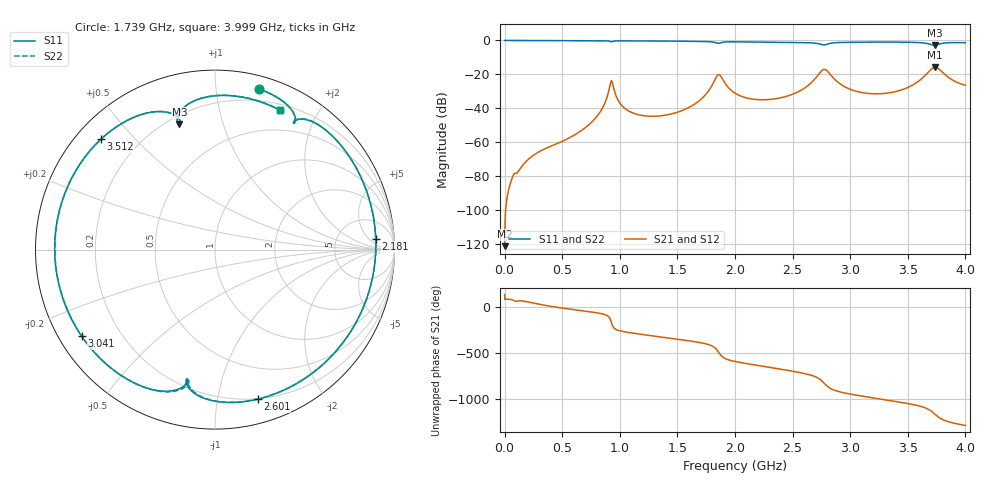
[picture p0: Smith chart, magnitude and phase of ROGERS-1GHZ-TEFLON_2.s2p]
! TOUCHSTONE file generated by CST MICROWAVE STUDIO
! Date and time: Thu Oct 30 19:20:40 2025
! Project name: ResonadorAnillo_PadsGndDesplazados_AnchoPistaPin.cst
! Parameters = {Eeff=2.76858; Er=3.55; H=1.56; L1=45.0747; L2=45.0747; L_Ang=9; L_AngTrans=1; L_Base=6.5; L_PadGND=4; L_Pin=4; L_conn=4; L_sma=8.5; Landa=180.299; R_Diel=2.08; R_Pin=0.45; R_sma=2.58; T=0.035; T_teflon=1.52; W=3.3; W_Base=1.5; W_PadGND=1.8; W_PistaPin=2.4; W_conn=0.9; Wa=3.3; X=70; Y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
! Header version: 2024
! Port assignment regex: !\s*Touchstone port\s*([0-9]+)\s*=\s*(CST MWS port|CST DES external port|CST DES block port)\s*(.+)\s* \(\"(.*)\"\)(\s*mode\s*([0-9]+))?.*
! Touchstone port assignment:
! Touchstone port 1 = CST MWS port 1 ("")
! Touchstone port 2 = CST MWS port 2 ("")
# GHz S MA R 62.45
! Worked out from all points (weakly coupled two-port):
!   5000 points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, 800 kHz to 4 GHz, reference 62.45 ohm
!   highest |S21| = -15.81 dB at 3.737 GHz (marker M1); lowest = -121.4 dB at 800 kHz (marker M2)
!   lowest |S11| = -2.8 dB at 3.732 GHz (marker M3), VSWR 6.30, Z = 15.4 + j45.4 ohm
!   |S11| at or under -10 dB: nowhere
!   |S22| runs from -2.7 to 0.0 dB; largest |S21 - S12| = 1.8e-10
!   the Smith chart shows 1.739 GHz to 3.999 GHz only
!   S11 on the Smith chart (normalised r, x): 1.739 GHz: 0.10, +1.30; 2.181 GHz: 13, +8; 2.601 GHz: 0.20, -1.31; 3.041 GHz: 0.07, -0.30; 3.512 GHz: 0.07, +0.40; 3.999 GHz: 0.26, +1.54
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0.0008  1 -0.2  8.537e-07 140.2  8.537e-07 140.2  1 -0.2
0.3472  0.9909 -67.8  0.0006285 23.7  0.0006285 23.7  0.9909 -67.6
0.668  0.9831 -123.9  0.002208 -34.5  0.002208 -34.5  0.9831 -123.8
0.8312  0.9786 -150.2  0.00789 -66.1  0.00789 -66.1  0.9786 -150.2
0.928  0.9114 -164.5  0.06485 -165.6  0.06485 -165.6  0.9129 -164.5
1.0616  0.9725 176.1  0.008972 89.4  0.008972 89.4  0.9725 176.1
1.3344  0.9623 136.2  0.005895 40.7  0.005895 40.7  0.9623 136.1
1.7392  0.9278 74.7  0.02394 -35.3  0.02394 -35.3  0.9281 74.8
1.8584  0.8283 58.2  0.09844 -130.3  0.09844 -130.3  0.8291 58.3
2.0008  0.9104 35.5  0.02787 129.9  0.02787 129.9  0.9109 35.9
2.1808  0.8973 3.8  0.01815 90.0  0.01815 90.0  0.8979 4.3
2.3784  0.8828 -32.1  0.01977 49.7  0.01977 49.7  0.8832 -31.4
2.6008  0.8664 -74.1  0.03865 -1.4  0.03865 -1.4  0.8667 -73.2
2.6672  0.8509 -87.2  0.05871 -22.8  0.05871 -22.8  0.8518 -86.3
2.78  0.7398 -101.8  0.1398 -114.8  0.1398 -114.8  0.7465 -101.2
3.0408  0.8859 -147.0  0.03255 124.8  0.03255 124.8  0.8851 -146.6
3.3336  0.8938 164.6  0.02833 65.9  0.02833 65.9  0.893 164.7
3.512  0.8843 135.9  0.04281 28.3  0.04281 28.3  0.8841 135.9
3.732  0.7262 105.8  0.1614 -81.1  0.1614 -81.1  0.7289 105.7
3.7368  0.7274 106.1  0.1619 -86.4  0.1619 -86.4  0.7301 105.9
3.9992  0.8568 65.1  0.04783 151.8  0.04783 151.8  0.8581 65.1
4  0.8567 64.9  0.04775 151.6  0.04775 151.6  0.8581 65.0
